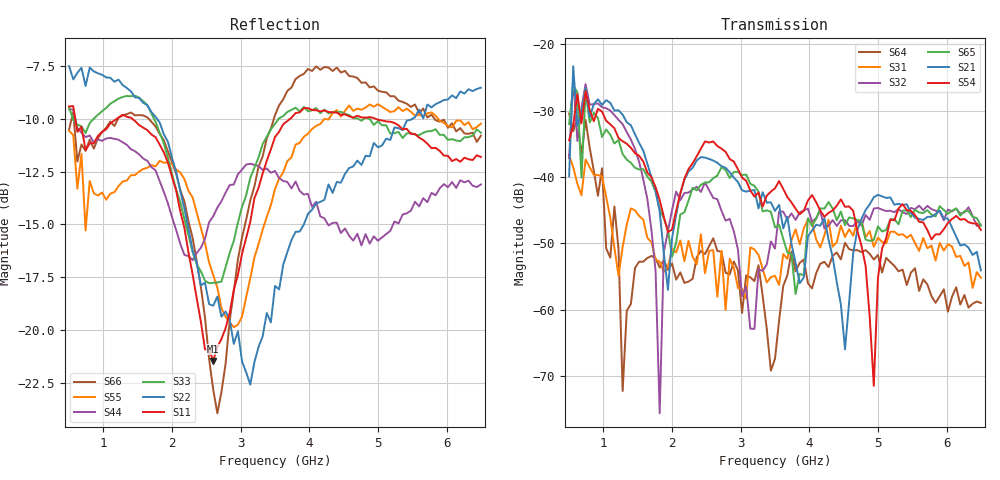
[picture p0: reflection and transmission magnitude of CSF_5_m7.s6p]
!Keysight Technologies,M9804A,MY58100912,A.14.10.03
!Date: Thursday, April 27, 2023 10:28:33
!Correction: S11(C  6-Port  )
!S12(C  6-Port  )
!S13(C  6-Port  )
!S14(C  6-Port  )
!S15(C  6-Port  )
!S16(C  6-Port  )
!S21(C  6-Port  )
!S22(C  6-Port  )
!S23(C  6-Port  )
!S24(C  6-Port  )
!S25(C  6-Port  )
!S26(C  6-Port  )
!S31(C  6-Port  )
!S32(C  6-Port  )
!S33(C  6-Port  )
!S34(C  6-Port  )
!S35(C  6-Port  )
!S36(C  6-Port  )
!S41(C  6-Port  )
!S42(C  6-Port  )
!S43(C  6-Port  )
!S44(C  6-Port  )
!S45(C  6-Port  )
!S46(C  6-Port  )
!S51(C  6-Port  )
!S52(C  6-Port  )
!S53(C  6-Port  )
!S54(C  6-Port  )
!S55(C  6-Port  )
!S56(C  6-Port  )
!S61(C  6-Port  )
!S62(C  6-Port  )
!S63(C  6-Port  )
!S64(C  6-Port  )
!S65(C  6-Port  )
!S66(C  6-Port  )
!S6P File: Measurement: :
# Hz S  RI  R 50
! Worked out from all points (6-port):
!   101 points, 500 MHz to 6.5 GHz, reference 50 ohm
!   strongest paths, dB at 500 MHz, 2 GHz, 3.5 GHz, 5 GHz, 6.5 GHz:
!     S54: -34.5, -47.9, -41.7, -55.2, -48.0
!     S21: -39.9, -49.2, -45.1, -42.7, -54.1
!     S65: -32.0, -52.0, -47.6, -47.4, -47.3
!     S32: -37.2, -45.0, -50.8, -44.7, -47.2
!     S31: -36.7, -50.8, -54.9, -49.1, -55.2
!     S64: -30.4, -53.0, -67.4, -51.7, -59.0
!   lowest |S11| = -21.5 dB at 2.6 GHz (marker M1), VSWR 1.18, Z = 42.5 + j2.2 ohm
!   |S11| at or under -10 dB: 589.9 MHz to 1.191 GHz (600.7 MHz wide, 67.5 % of centre); 1.423 GHz to 3.717 GHz (2.294 GHz wide, 89.3 % of centre); 4.973 GHz to end of sweep
